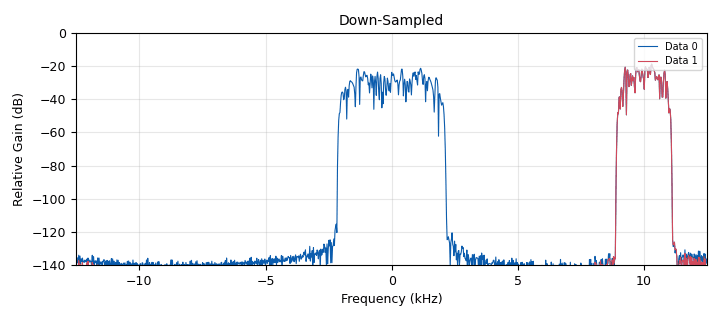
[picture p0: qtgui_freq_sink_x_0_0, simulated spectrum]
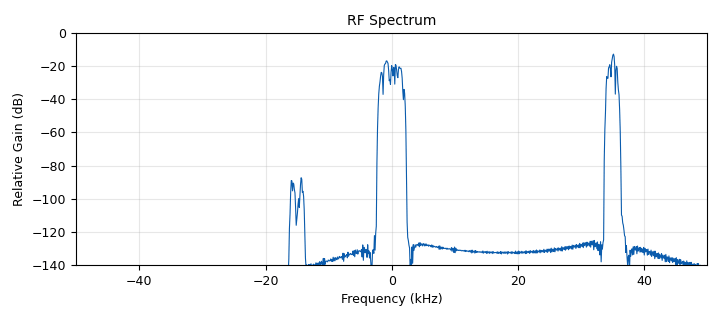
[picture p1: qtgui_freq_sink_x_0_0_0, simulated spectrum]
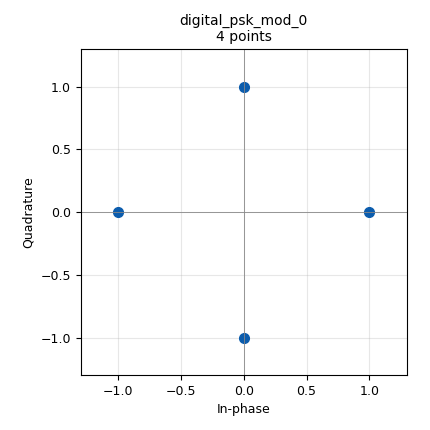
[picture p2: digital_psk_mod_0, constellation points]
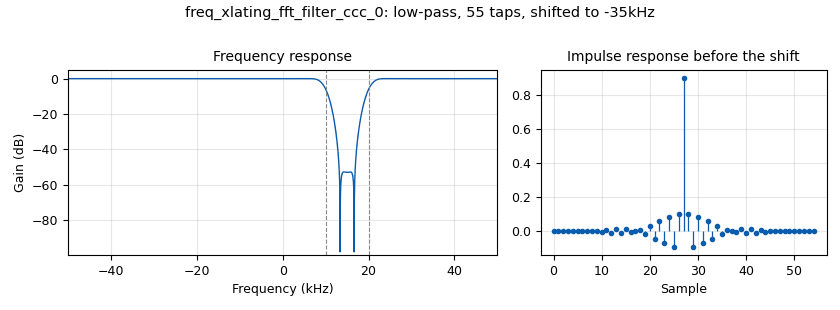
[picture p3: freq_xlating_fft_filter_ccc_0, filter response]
<?xml version='1.0' encoding='utf-8'?>
<?grc format='1' created='3.7.10'?>
<flow_graph>
<block>
<key>options</key>
<param><key>id</key><value>downsampling</value></param>
<param><key>author</key><value>Alexandros-Apostolos A. Boulogeorgos</value></param>
<param><key>generate_options</key><value>qt_gui</value></param>
<param><key>title</key><value>Downsampling</value></param>
</block>
<block>
<key>variable</key>
<param><key>id</key><value>arity</value></param>
<param><key>value</key><value>4</value></param>
</block>
<block>
<key>variable_qtgui_range</key>
<param><key>id</key><value>cfreq</value></param>
<param><key>value</key><value>35e3</value></param>
<param><key>gui_hint</key><value>0,0,1,1</value></param>
<param><key>label</key><value>Cent. Freq.</value></param>
<param><key>orient</key><value>Qt.Horizontal</value></param>
<param><key>start</key><value>0</value></param>
<param><key>step</key><value>1e3</value></param>
<param><key>stop</key><value>samp_rate/2</value></param>
</block>
<block>
<key>variable</key>
<param><key>id</key><value>decim</value></param>
<param><key>value</key><value>4</value></param>
</block>
<block>
<key>variable</key>
<param><key>id</key><value>samp_rate</value></param>
<param><key>value</key><value>100000</value></param>
</block>
<block>
<key>variable</key>
<param><key>id</key><value>sps</value></param>
<param><key>value</key><value>32</value></param>
</block>
<block>
<key>variable_qtgui_chooser</key>
<param><key>id</key><value>taps</value></param>
<param><key>value</key><value>taps0</value></param>
<param><key>gui_hint</key><value>0,1,1,1</value></param>
<param><key>label0</key><value>No Filter</value></param>
<param><key>label1</key><value>LPF</value></param>
<param><key>label</key><value>Tap Select</value></param>
<param><key>num_opts</key><value>2</value></param>
<param><key>option0</key><value>taps0</value></param>
<param><key>option1</key><value>taps1</value></param>
<param><key>orient</key><value>Qt.QHBoxLayout</value></param>
<param><key>type</key><value>raw</value></param>
<param><key>widget</key><value>radio_buttons</value></param>
</block>
<block>
<key>variable</key>
<param><key>id</key><value>taps0</value></param>
<param><key>value</key><value>[1,]</value></param>
</block>
<block>
<key>variable</key>
<param><key>id</key><value>taps1</value></param>
<param><key>value</key><value>firdes.low_pass_2(1, 1, 0.2, 0.05, 80)</value></param>
</block>
<block>
<key>analog_random_source_x</key>
<param><key>id</key><value>analog_random_source_x_0</value></param>
<param><key>max</key><value>256</value></param>
<param><key>min</key><value>0</value></param>
<param><key>num_samps</key><value>1000</value></param>
<param><key>type</key><value>byte</value></param>
<param><key>repeat</key><value>True</value></param>
</block>
<block>
<key>analog_random_source_x</key>
<param><key>id</key><value>analog_random_source_x_0_0</value></param>
<param><key>max</key><value>256</value></param>
<param><key>min</key><value>0</value></param>
<param><key>num_samps</key><value>1000</value></param>
<param><key>type</key><value>byte</value></param>
<param><key>repeat</key><value>True</value></param>
</block>
<block>
<key>blocks_add_xx</key>
<param><key>id</key><value>blocks_add_xx_0</value></param>
<param><key>type</key><value>complex</value></param>
</block>
<block>
<key>blocks_throttle</key>
<param><key>id</key><value>blocks_throttle_0</value></param>
<param><key>samples_per_second</key><value>samp_rate</value></param>
<param><key>type</key><value>complex</value></param>
</block>
<block>
<key>digital_psk_mod</key>
<param><key>id</key><value>digital_psk_mod_0</value></param>
<param><key>differential</key><value>True</value></param>
<param><key>excess_bw</key><value>0.35</value></param>
<param><key>mod_code</key><value>"gray"</value></param>
<param><key>constellation_points</key><value>arity</value></param>
<param><key>samples_per_symbol</key><value>sps</value></param>
</block>
<block>
<key>digital_psk_mod</key>
<param><key>id</key><value>digital_psk_mod_0_0</value></param>
<param><key>differential</key><value>True</value></param>
<param><key>excess_bw</key><value>0.35</value></param>
<param><key>mod_code</key><value>"gray"</value></param>
<param><key>constellation_points</key><value>arity</value></param>
<param><key>samples_per_symbol</key><value>sps*2</value></param>
</block>
<block>
<key>fir_filter_xxx</key>
<param><key>id</key><value>fir_filter_xxx_0</value></param>
<param><key>decim</key><value>decim</value></param>
<param><key>taps</key><value>taps</value></param>
<param><key>type</key><value>ccc</value></param>
</block>
<block>
<key>fir_filter_xxx</key>
<param><key>id</key><value>fir_filter_xxx_0_0</value></param>
<param><key>decim</key><value>decim</value></param>
<param><key>taps</key><value>taps</value></param>
<param><key>type</key><value>ccc</value></param>
</block>
<block>
<key>freq_xlating_fft_filter_ccc</key>
<param><key>id</key><value>freq_xlating_fft_filter_ccc_0</value></param>
<param><key>center_freq</key><value>-cfreq</value></param>
<param><key>decim</key><value>1</value></param>
<param><key>samp_rate</key><value>samp_rate</value></param>
<param><key>taps</key><value>firdes.low_pass_2(1,1, 0.45, 0.05, 60)</value></param>
</block>
<block>
<key>qtgui_freq_sink_x</key>
<param><key>id</key><value>qtgui_freq_sink_x_0_0</value></param>
<param><key>bw</key><value>samp_rate/decim</value></param>
<param><key>fc</key><value>0</value></param>
<param><key>fftsize</key><value>1024</value></param>
<param><key>gui_hint</key><value>1,1,1,1</value></param>
<param><key>width1</key><value>2</value></param>
<param><key>label2</key><value></value></param>
<param><key>name</key><value>Down-Sampled</value></param>
<param><key>nconnections</key><value>2</value></param>
<param><key>showports</key><value>True</value></param>
<param><key>type</key><value>complex</value></param>
<param><key>wintype</key><value>firdes.WIN_BLACKMAN_hARRIS</value></param>
<param><key>ymax</key><value>0</value></param>
</block>
<block>
<key>qtgui_freq_sink_x</key>
<param><key>id</key><value>qtgui_freq_sink_x_0_0_0</value></param>
<param><key>bw</key><value>samp_rate</value></param>
<param><key>fc</key><value>0</value></param>
<param><key>fftsize</key><value>1024</value></param>
<param><key>gui_hint</key><value>1,0,1,1</value></param>
<param><key>width1</key><value>2</value></param>
<param><key>name</key><value>RF Spectrum</value></param>
<param><key>showports</key><value>True</value></param>
<param><key>type</key><value>complex</value></param>
<param><key>wintype</key><value>firdes.WIN_BLACKMAN_hARRIS</value></param>
<param><key>ymax</key><value>0</value></param>
</block>
<connection><source_block_id>analog_random_source_x_0</source_block_id><sink_block_id>digital_psk_mod_0</sink_block_id><source_key>0</source_key><sink_key>0</sink_key></connection>
<connection><source_block_id>analog_random_source_x_0_0</source_block_id><sink_block_id>digital_psk_mod_0_0</sink_block_id><source_key>0</source_key><sink_key>0</sink_key></connection>
<connection><source_block_id>blocks_add_xx_0</source_block_id><sink_block_id>blocks_throttle_0</sink_block_id><source_key>0</source_key><sink_key>0</sink_key></connection>
<connection><source_block_id>blocks_throttle_0</source_block_id><sink_block_id>fir_filter_xxx_0</sink_block_id><source_key>0</source_key><sink_key>0</sink_key></connection>
<connection><source_block_id>blocks_throttle_0</source_block_id><sink_block_id>qtgui_freq_sink_x_0_0_0</sink_block_id><source_key>0</source_key><sink_key>0</sink_key></connection>
<connection><source_block_id>digital_psk_mod_0</source_block_id><sink_block_id>blocks_add_xx_0</sink_block_id><source_key>0</source_key><sink_key>0</sink_key></connection>
<connection><source_block_id>digital_psk_mod_0_0</source_block_id><sink_block_id>freq_xlating_fft_filter_ccc_0</sink_block_id><source_key>0</source_key><sink_key>0</sink_key></connection>
<connection><source_block_id>fir_filter_xxx_0</source_block_id><sink_block_id>qtgui_freq_sink_x_0_0</sink_block_id><source_key>0</source_key><sink_key>0</sink_key></connection>
<connection><source_block_id>fir_filter_xxx_0_0</source_block_id><sink_block_id>qtgui_freq_sink_x_0_0</sink_block_id><source_key>0</source_key><sink_key>1</sink_key></connection>
<connection><source_block_id>freq_xlating_fft_filter_ccc_0</source_block_id><sink_block_id>blocks_add_xx_0</sink_block_id><source_key>0</source_key><sink_key>1</sink_key></connection>
<connection><source_block_id>freq_xlating_fft_filter_ccc_0</source_block_id><sink_block_id>fir_filter_xxx_0_0</sink_block_id><source_key>0</source_key><sink_key>0</sink_key></connection>
</flow_graph>
